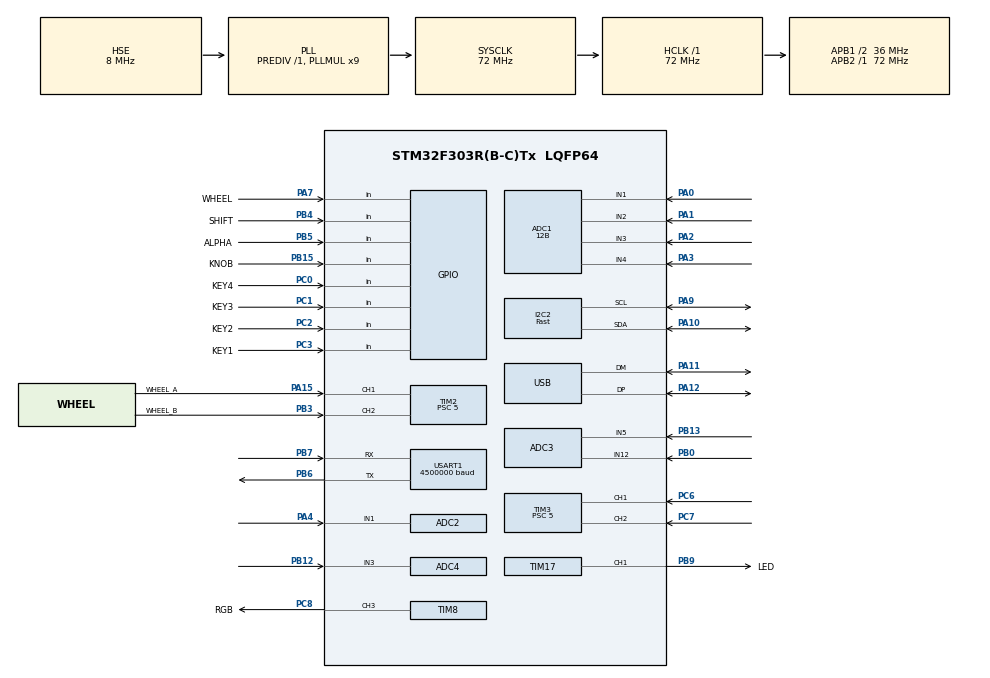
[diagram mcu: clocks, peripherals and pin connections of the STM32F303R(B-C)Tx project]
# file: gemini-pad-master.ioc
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ADC1.Channel-0\#ChannelRegularConversion=ADC_CHANNEL_1
ADC1.Channel-1\#ChannelRegularConversion=ADC_CHANNEL_2
ADC1.Channel-2\#ChannelRegularConversion=ADC_CHANNEL_3
ADC1.Channel-3\#ChannelRegularConversion=ADC_CHANNEL_4
ADC1.ContinuousConvMode=DISABLE
ADC1.DiscontinuousConvMode=ENABLE
ADC1.EnableInjectedConversion=DISABLE
ADC1.NbrOfConversion=4
ADC1.NbrOfConversionFlag=1
ADC1.NbrOfDiscConversion=1
ADC1.Offset-0\#ChannelRegularConversion=0
ADC1.Offset-1\#ChannelRegularConversion=0
ADC1.Offset-2\#ChannelRegularConversion=0
ADC1.Offset-3\#ChannelRegularConversion=0
ADC1.OffsetNumber-0\#ChannelRegularConversion=ADC_OFFSET_NONE
ADC1.OffsetNumber-1\#ChannelRegularConversion=ADC_OFFSET_NONE
ADC1.OffsetNumber-2\#ChannelRegularConversion=ADC_OFFSET_NONE
ADC1.OffsetNumber-3\#ChannelRegularConversion=ADC_OFFSET_NONE
ADC1.Rank-0\#ChannelRegularConversion=1
ADC1.Rank-1\#ChannelRegularConversion=2
ADC1.Rank-2\#ChannelRegularConversion=3
ADC1.Rank-3\#ChannelRegularConversion=4
ADC1.Resolution=ADC_RESOLUTION_12B
ADC1.SamplingTime-0\#ChannelRegularConversion=ADC_SAMPLETIME_601CYCLES_5
ADC1.SamplingTime-1\#ChannelRegularConversion=ADC_SAMPLETIME_601CYCLES_5
ADC1.SamplingTime-2\#ChannelRegularConversion=ADC_SAMPLETIME_601CYCLES_5
ADC1.SamplingTime-3\#ChannelRegularConversion=ADC_SAMPLETIME_601CYCLES_5
ADC1.master=1
ADC2.Channel-0\#ChannelRegularConversion=ADC_CHANNEL_1
ADC2.NbrOfConversionFlag=1
ADC2.Offset-0\#ChannelRegularConversion=0
ADC2.OffsetNumber-0\#ChannelRegularConversion=ADC_OFFSET_NONE
ADC2.Rank-0\#ChannelRegularConversion=1
ADC2.SamplingTime-0\#ChannelRegularConversion=ADC_SAMPLETIME_1CYCLE_5
ADC2.SamplingTimeOPAMP-0\#ChannelRegularConversion=ADC_SAMPLETIME_4CYCLES_5
ADC3.Channel-0\#ChannelRegularConversion=ADC_CHANNEL_5
ADC3.NbrOfConversionFlag=1
ADC3.Offset-0\#ChannelRegularConversion=0
ADC3.OffsetNumber-0\#ChannelRegularConversion=ADC_OFFSET_NONE
ADC3.Rank-0\#ChannelRegularConversion=1
ADC3.SamplingTime-0\#ChannelRegularConversion=ADC_SAMPLETIME_1CYCLE_5
ADC3.master=1
ADC4.Channel-0\#ChannelRegularConversion=ADC_CHANNEL_3
ADC4.NbrOfConversionFlag=1
ADC4.Offset-0\#ChannelRegularConversion=0
ADC4.OffsetNumber-0\#ChannelRegularConversion=ADC_OFFSET_NONE
ADC4.Rank-0\#ChannelRegularConversion=1
ADC4.SamplingTime-0\#ChannelRegularConversion=ADC_SAMPLETIME_1CYCLE_5
ADC4.SamplingTimeOPAMP-0\#ChannelRegularConversion=ADC_SAMPLETIME_4CYCLES_5
Dma.Request0=TIM8_CH3/UP
Dma.Request1=USART1_TX
Dma.Request2=USART1_RX
Dma.TIM8_CH3/UP.0.Direction=DMA_MEMORY_TO_PERIPH
Dma.TIM8_CH3/UP.0.Instance=DMA2_Channel1
Dma.TIM8_CH3/UP.0.MemDataAlignment=DMA_MDATAALIGN_WORD
Dma.TIM8_CH3/UP.0.MemInc=DMA_MINC_ENABLE
Dma.TIM8_CH3/UP.0.Mode=DMA_CIRCULAR
Dma.TIM8_CH3/UP.0.PeriphDataAlignment=DMA_PDATAALIGN_WORD
Dma.TIM8_CH3/UP.0.PeriphInc=DMA_PINC_DISABLE
Dma.TIM8_CH3/UP.0.Priority=DMA_PRIORITY_HIGH
Dma.USART1_RX.2.Direction=DMA_PERIPH_TO_MEMORY
Dma.USART1_RX.2.Instance=DMA1_Channel5
Dma.USART1_RX.2.MemDataAlignment=DMA_MDATAALIGN_BYTE
Dma.USART1_RX.2.MemInc=DMA_MINC_ENABLE
Dma.USART1_RX.2.Mode=DMA_NORMAL
Dma.USART1_RX.2.PeriphDataAlignment=DMA_PDATAALIGN_BYTE
Dma.USART1_RX.2.PeriphInc=DMA_PINC_DISABLE
Dma.USART1_RX.2.Priority=DMA_PRIORITY_LOW
Dma.USART1_TX.1.Direction=DMA_MEMORY_TO_PERIPH
Dma.USART1_TX.1.Instance=DMA1_Channel4
Dma.USART1_TX.1.MemDataAlignment=DMA_MDATAALIGN_BYTE
Dma.USART1_TX.1.MemInc=DMA_MINC_ENABLE
Dma.USART1_TX.1.Mode=DMA_NORMAL
Dma.USART1_TX.1.PeriphDataAlignment=DMA_PDATAALIGN_BYTE
Dma.USART1_TX.1.PeriphInc=DMA_PINC_DISABLE
Dma.USART1_TX.1.Priority=DMA_PRIORITY_LOW
I2C2.I2C_Speed_Mode=I2C_Fast
I2C2.Timing=0x0000020B
Mcu.Family=STM32F3
Mcu.Name=STM32F303R(B-C)Tx
Mcu.Package=LQFP64
NVIC.DMA1_Channel4_IRQn=true\:0\:0\:false\:false\:true\:false\:true\:true
NVIC.DMA1_Channel5_IRQn=true\:0\:0\:false\:false\:true\:false\:true\:true
NVIC.DMA2_Channel1_IRQn=true\:0\:0\:false\:false\:true\:false\:true\:true
NVIC.PriorityGroup=NVIC_PRIORITYGROUP_4
NVIC.TIM2_IRQn=true\:0\:0\:false\:false\:true\:true\:true\:true
NVIC.TIM3_IRQn=true\:0\:0\:false\:false\:true\:true\:true\:true
NVIC.TIM6_DAC_IRQn=true\:0\:0\:false\:false\:true\:true\:true\:true
NVIC.TIM7_IRQn=true\:0\:0\:false\:false\:true\:true\:true\:true
NVIC.USART1_IRQn=true\:3\:0\:true\:false\:true\:true\:true\:true
NVIC.USB_LP_CAN_RX0_IRQn=true\:0\:0\:false\:false\:true\:false\:true\:true
PA0.Mode=IN1-Single-Ended
PA0.Signal=ADC1_IN1
PA1.Mode=IN2-Single-Ended
PA1.Signal=ADC1_IN2
PA10.Mode=I2C
PA10.Signal=I2C2_SDA
PA11.Mode=Device
PA11.Signal=USB_DM
PA12.Mode=Device
PA12.Signal=USB_DP
PA13.Mode=Serial_Wire
PA13.Signal=SYS_JTMS-SWDIO
PA14.Mode=Serial_Wire
PA14.Signal=SYS_JTCK-SWCLK
PA15.GPIO_Label=WHEEL_A
PA15.Signal=S_TIM2_CH1_ETR
PA2.Mode=IN3-Single-Ended
PA2.Signal=ADC1_IN3
PA3.Mode=IN4-Single-Ended
PA3.Signal=ADC1_IN4
PA4.Mode=IN1-Single-Ended
PA4.Signal=ADC2_IN1
PA7.GPIO_Label=WHEEL
PA7.Signal=GPIO_Input
PA9.Mode=I2C
PA9.Signal=I2C2_SCL
PB0.Mode=IN12-Single-Ended
PB0.Signal=ADC3_IN12
PB12.Mode=IN3-Single-Ended
PB12.Signal=ADC4_IN3
PB13.Mode=IN5-Single-Ended
PB13.Signal=ADC3_IN5
PB15.GPIO_Label=KNOB
PB15.GPIO_PuPd=GPIO_PULLUP
PB15.Signal=GPIO_Input
PB3.GPIO_Label=WHEEL_B
PB3.Signal=S_TIM2_CH2
PB4.GPIO_Label=SHIFT
PB4.Signal=GPIO_Input
PB5.GPIO_Label=ALPHA
PB5.Signal=GPIO_Input
PB6.GPIO_ModeDefaultOD=GPIO_MODE_AF_OD
PB6.Mode=Multiprocessor_communication
PB6.Signal=USART1_TX
PB7.GPIO_ModeDefaultOD=GPIO_MODE_AF_OD
PB7.Mode=Multiprocessor_communication
PB7.Signal=USART1_RX
PB9.GPIO_Label=LED
PB9.Signal=S_TIM17_CH1
PC0.GPIO_Label=KEY4
PC0.Signal=GPIO_Input
PC1.GPIO_Label=KEY3
PC1.Signal=GPIO_Input
PC2.GPIO_Label=KEY2
PC2.Signal=GPIO_Input
PC3.GPIO_Label=KEY1
PC3.Signal=GPIO_Input
PC6.Signal=S_TIM3_CH1
PC7.Signal=S_TIM3_CH2
PC8.GPIO_Label=RGB
PC8.Signal=S_TIM8_CH3
PF0-OSC_IN.Mode=HSE-External-Oscillator
PF0-OSC_IN.Signal=RCC_OSC_IN
PF1-OSC_OUT.Mode=HSE-External-Oscillator
PF1-OSC_OUT.Signal=RCC_OSC_OUT
ProjectManager.HeapSize=0x200
ProjectManager.StackSize=0x400
ProjectManager.TargetToolchain=STM32CubeIDE
RCC.AHBFreq_Value=72000000
RCC.APB1CLKDivider=RCC_HCLK_DIV2
RCC.APB1Freq_Value=36000000
RCC.APB1TimFreq_Value=72000000
RCC.APB2Freq_Value=72000000
RCC.APB2TimFreq_Value=72000000
RCC.CortexFreq_Value=72000000
RCC.HCLKFreq_Value=72000000
RCC.HSE_VALUE=8000000
RCC.HSI_VALUE=8000000
RCC.LSE_VALUE=32768
RCC.PLLMUL=RCC_PLL_MUL9
RCC.PRESCALERUSB=RCC_USBCLKSOURCE_PLL_DIV1_5
RCC.SYSCLKFreq_VALUE=72000000
RCC.SYSCLKSourceVirtual=RCC_SYSCLKSOURCE_PLLCLK
RCC.USBFreq_Value=48000000
SH.S_TIM17_CH1.0=TIM17_CH1,PWM Generation1 CH1
SH.S_TIM2_CH1_ETR.0=TIM2_CH1,Encoder_Interface
SH.S_TIM2_CH2.0=TIM2_CH2,Encoder_Interface
SH.S_TIM3_CH1.0=TIM3_CH1,Encoder_Interface
SH.S_TIM3_CH2.0=TIM3_CH2,Encoder_Interface
SH.S_TIM8_CH3.0=TIM8_CH3,PWM Generation3 CH3
TIM17.Channel=TIM_CHANNEL_1
TIM2.IC1Filter=4
TIM2.IC2Filter=4
TIM2.Period=30
TIM2.Prescaler=5
TIM3.AutoReloadPreload=TIM_AUTORELOAD_PRELOAD_DISABLE
TIM3.EncoderMode=TIM_ENCODERMODE_TI12
TIM3.IC1Filter=10
TIM3.IC1Polarity=TIM_ICPOLARITY_RISING
TIM3.IC2Filter=10
TIM3.IC2Polarity=TIM_ICPOLARITY_RISING
TIM3.Period=30
TIM3.Prescaler=5
TIM6.Period=10000-1
TIM6.Prescaler=7200-1
TIM7.Period=10-1
TIM7.Prescaler=7200-1
TIM8.Channel-PWM\ Generation3\ CH3=TIM_CHANNEL_3
TIM8.CounterMode=TIM_COUNTERMODE_DOWN
TIM8.OCMode_PWM-PWM\ Generation3\ CH3=TIM_OCMODE_PWM1
TIM8.Period=90-1
USART1.BaudRate=4500000
USART1.Parity=PARITY_EVEN
USART1.VirtualMode-Multiprocessor_communication=VM_ASYNC
USART1.WordLength=WORDLENGTH_9B
USB.low_power_enable=DISABLE
USB.lpm_enable=DISABLE
USB_DEVICE.CLASS_NAME_FS=CUSTOM_HID
USB_DEVICE.CUSTOM_HID_FS_BINTERVAL=0x1
USB_DEVICE.MANUFACTURER_STRING=Lzq12345
USB_DEVICE.PID_CUSTOMHID_FS=22318
USB_DEVICE.PRODUCT_STRING_CUSTOMHID_FS=Gemini Pad
USB_DEVICE.USBD_CUSTOMHID_OUTREPORT_BUF_SIZE=17
USB_DEVICE.USBD_CUSTOM_HID_REPORT_DESC_SIZE=45
USB_DEVICE.USBD_SELF_POWERED=1
USB_DEVICE.VID=1156
USB_DEVICE.VirtualMode=CustomHid
USB_DEVICE.VirtualModeFS=Custom_Hid_FS
VP_TIM16_VS_ClockSourceINT.Mode=Enable_Timer
VP_TIM17_VS_ClockSourceINT.Mode=Enable_Timer
VP_TIM6_VS_ClockSourceINT.Mode=Enable_Timer
VP_TIM7_VS_ClockSourceINT.Mode=Enable_Timer
VP_TIM8_VS_ClockSourceINT.Mode=Internal
VP_USB_DEVICE_VS_USB_DEVICE_CUSTOM_HID_FS.Mode=CUSTOM_HID_FS
board=custom

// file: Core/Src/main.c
/* USER CODE BEGIN Header */
/**
  ******************************************************************************
  * @file           : main.c
  * @brief          : Main program body
  ******************************************************************************
  * @attention
  *
  * Copyright (c) 2023 STMicroelectronics.
  * All rights reserved.
  *
  * This software is licensed under terms that can be found in the LICENSE file
  * in the root directory of this software component.
  * If no LICENSE file comes with this software, it is provided AS-IS.
  *
  ******************************************************************************
  */
/* USER CODE END Header */
#include "main.h"
#include "adc.h"
#include "dma.h"
#include "i2c.h"
#include "tim.h"
#include "usart.h"
#include "usb_device.h"
#include "gpio.h"

/* USER CODE BEGIN Includes */
#include "stdbool.h"
#include "stdlib.h"
#include "analog.h"
#include "rgb.h"
#include "keyboard.h"
#include "lefl.h"
#include "flash_address.h"
#include "MB85RC16.h"
#include "communication.h"
#include "usbd_custom_hid_if.h"
/* USER CODE END Includes */

/* USER CODE BEGIN PV */
uint32_t count=0;
uint8_t cmd_buffer;
bool sendreport=true;
bool sendreport_ready=false;
/* USER CODE END PV */

void SystemClock_Config(void);

int main(void)
{

  /* MCU Configuration--------------------------------------------------------*/

  /* Reset of all peripherals, Initializes the Flash interface and the Systick. */
  HAL_Init();

  /* Configure the system clock */
  SystemClock_Config();

  /* Initialize all configured peripherals */
  MX_GPIO_Init();
  MX_DMA_Init();
  MX_ADC1_Init();
  MX_ADC2_Init();
  MX_ADC3_Init();
  MX_ADC4_Init();
  MX_TIM7_Init();
  MX_TIM8_Init();
  MX_USART1_UART_Init();
  MX_USB_DEVICE_Init();
  MX_TIM17_Init();
  MX_TIM2_Init();
  MX_TIM6_Init();
  MX_TIM16_Init();
  MX_I2C2_Init();
  MX_TIM3_Init();
  /* USER CODE BEGIN 2 */
  lefl_bit_array_init(&Keyboard_KeyArray, (size_t*)(Keyboard_ReportBuffer+2), 120);
  Keyboard_Init();
  RGB_Init();
  Analog_Recovery();
  RGB_Recovery();

  HAL_ADCEx_Calibration_Start(&hadc1, ADC_SINGLE_ENDED);
  HAL_TIM_PWM_Start(&htim17,TIM_CHANNEL_1);
  RGB_Start();

  //Analog_Init();
  RGB_Flash();
  RGB_TurnOff();
  HAL_TIM_Base_Start_IT(&htim6);
  HAL_TIM_Base_Start_IT(&htim7);
  HAL_TIM_Encoder_Start_IT(&htim2,TIM_CHANNEL_1);
  HAL_TIM_Encoder_Start_IT(&htim3,TIM_CHANNEL_1);
  MX_USART1_UART_Init();
  Communication_Enable(&huart1,USART1_RX_Buffer,BUFFER_LENGTH);
  /* USER CODE END 2 */

  /* Infinite loop */
  /* USER CODE BEGIN WHILE */
  while (1)
  {
	Analog_Scan();
	//adccount++;
    //RGB_Colors[0].R=ADC_Values[0]-2800;
    //HAL_Delay(1);
    if(cmd_buffer)
    {
        switch (cmd_buffer)
        {
            case CMD_CALIBRATION_START:
                memset(Keyboard_ReportBuffer,0,sizeof(Keyboard_ReportBuffer)/sizeof(uint8_t));
                USBD_CUSTOM_HID_SendReport(&hUsbDeviceFS,Keyboard_ReportBuffer,USBD_CUSTOMHID_OUTREPORT_BUF_SIZE);
                HAL_TIM_Base_Stop_IT(&htim7);
                Analog_Init();
                HAL_TIM_Base_Start_IT(&htim7);
                break;
            case CMD_ANALOG_READ:
                Analog_Recovery();
                break;
            case CMD_ID_READ:
                Keyboard_ID_Recovery();
                break;
            case CMD_RGB_READ:
                RGB_Recovery();
                break;
            default:
                break;
        }
        cmd_buffer=CMD_NULL;
    }
    /* USER CODE END WHILE */

  }
}

void SystemClock_Config(void)
{
  RCC_OscInitTypeDef RCC_OscInitStruct = {0};
  RCC_ClkInitTypeDef RCC_ClkInitStruct = {0};
  RCC_PeriphCLKInitTypeDef PeriphClkInit = {0};

  /** Initializes the RCC Oscillators according to the specified parameters
  * in the RCC_OscInitTypeDef structure.
  */
  RCC_OscInitStruct.OscillatorType = RCC_OSCILLATORTYPE_HSI|RCC_OSCILLATORTYPE_HSE;
  RCC_OscInitStruct.HSEState = RCC_HSE_ON;
  RCC_OscInitStruct.HSEPredivValue = RCC_HSE_PREDIV_DIV1;
  RCC_OscInitStruct.HSIState = RCC_HSI_ON;
  RCC_OscInitStruct.HSICalibrationValue = RCC_HSICALIBRATION_DEFAULT;
  RCC_OscInitStruct.PLL.PLLState = RCC_PLL_ON;
  RCC_OscInitStruct.PLL.PLLSource = RCC_PLLSOURCE_HSE;
  RCC_OscInitStruct.PLL.PLLMUL = RCC_PLL_MUL9;
  if (HAL_RCC_OscConfig(&RCC_OscInitStruct) != HAL_OK)
  {
    Error_Handler();
  }

  /** Initializes the CPU, AHB and APB buses clocks
  */
  RCC_ClkInitStruct.ClockType = RCC_CLOCKTYPE_HCLK|RCC_CLOCKTYPE_SYSCLK
                              |RCC_CLOCKTYPE_PCLK1|RCC_CLOCKTYPE_PCLK2;
  RCC_ClkInitStruct.SYSCLKSource = RCC_SYSCLKSOURCE_PLLCLK;
  RCC_ClkInitStruct.AHBCLKDivider = RCC_SYSCLK_DIV1;
  RCC_ClkInitStruct.APB1CLKDivider = RCC_HCLK_DIV2;
  RCC_ClkInitStruct.APB2CLKDivider = RCC_HCLK_DIV1;

  if (HAL_RCC_ClockConfig(&RCC_ClkInitStruct, FLASH_LATENCY_2) != HAL_OK)
  {
    Error_Handler();
  }
  PeriphClkInit.PeriphClockSelection = RCC_PERIPHCLK_USB|RCC_PERIPHCLK_USART1
                              |RCC_PERIPHCLK_I2C2|RCC_PERIPHCLK_TIM8
                              |RCC_PERIPHCLK_ADC12|RCC_PERIPHCLK_ADC34;
  PeriphClkInit.Usart1ClockSelection = RCC_USART1CLKSOURCE_PCLK2;
  PeriphClkInit.Adc12ClockSelection = RCC_ADC12PLLCLK_DIV1;
  PeriphClkInit.Adc34ClockSelection = RCC_ADC34PLLCLK_DIV1;
  PeriphClkInit.I2c2ClockSelection = RCC_I2C2CLKSOURCE_HSI;
  PeriphClkInit.USBClockSelection = RCC_USBCLKSOURCE_PLL_DIV1_5;
  PeriphClkInit.Tim8ClockSelection = RCC_TIM8CLK_HCLK;
  if (HAL_RCCEx_PeriphCLKConfig(&PeriphClkInit) != HAL_OK)
  {
    Error_Handler();
  }
}

/* USER CODE BEGIN 4 */
void HAL_TIM_PeriodElapsedCallback(TIM_HandleTypeDef *htim)
{
  if (htim->Instance==TIM7)
  {

    Keyboard_Scan();
    Analog_Average();
    Analog_Check();
    if(sendreport)
        Keyboard_SendReport();
    Communication_Pack();
    if(eeprom_buzy)
    {
        Communication_Add8(USART1,PROTOCOL_CMD,CMD_EEPROM_DISABLE);
    }
    else
    {
        Communication_Add8(USART1,PROTOCOL_CMD,CMD_EEPROM_ENABLE);
    }
    Communication_USART1_Transmit();

    RGB_Update();
	Analog_Clean();
  }

  if (htim->Instance==TIM6)
  {

  }
}

/* USER CODE END 4 */

void Error_Handler(void)
{
  __disable_irq();
  while (1)
  {
  }
}
